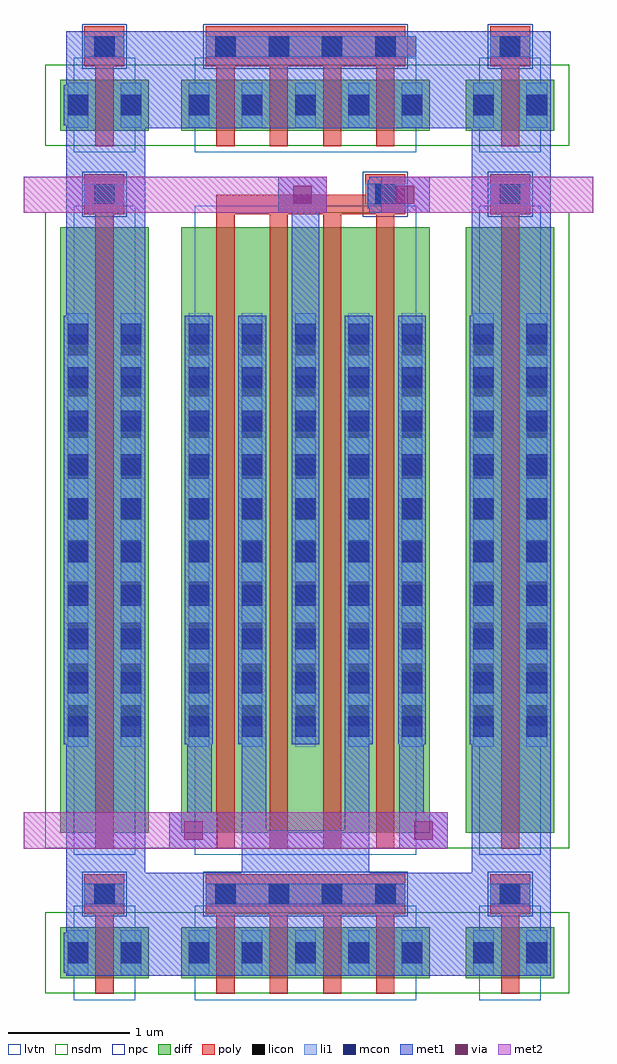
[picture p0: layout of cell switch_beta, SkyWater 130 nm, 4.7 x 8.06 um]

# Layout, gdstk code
import gdstk
lib = gdstk.Library(unit=1e-6, precision=1e-09)
def R(c, l, rs):  # rectangles x0, y0, x1, y1
    for r in rs: c.add(gdstk.rectangle(r[:2], r[2:], *l))
def A(c, l, x, y, w, h, nx, ny, dx, dy):  # array of equal rectangles
    R(c, l, [(x+i*dx, y+j*dy, x+i*dx+w, y+j*dy+h) for i in range(nx) for j in range(ny)])
diff = (65, 20)
poly = (66, 20)
licon = (66, 44)
li1 = (67, 20)
mcon = (67, 44)
met1 = (68, 20)
via = (68, 44)
met2 = (69, 20)
nsdm = (93, 44)
npc = (95, 20)
lvtn = (125, 44)

sky130_fd_pr__nfet_01v8_ = lib.new_cell('sky130_fd_pr__nfet_01v8_lvt_JQZUD4')
R(sky130_fd_pr__nfet_01v8_, diff, [(-0.365,-2.655,0.365,2.345)])
R(sky130_fd_pr__nfet_01v8_, poly, [(-0.075,-2.785,0.075,2.455), (-0.165,2.455,0.165,2.785)])
A(sky130_fd_pr__nfet_01v8_, licon, -0.305, -1.77, 0.17, 0.17, 1, 10, 0, 0.34)
A(sky130_fd_pr__nfet_01v8_, licon, 0.135, -1.77, 0.17, 0.17, 1, 10, 0, 0.34)
R(sky130_fd_pr__nfet_01v8_, licon, [(-0.085,2.535,0.085,2.705)])
R(sky130_fd_pr__nfet_01v8_, li1, [(-0.305,-1.945,-0.135,1.635), (0.135,-1.945,0.305,1.635), (-0.165,2.535,0.165,2.705)])
A(sky130_fd_pr__nfet_01v8_, mcon, -0.305, -1.86, 0.17, 0.17, 1, 10, 0, 0.36)
A(sky130_fd_pr__nfet_01v8_, mcon, 0.135, -1.86, 0.17, 0.17, 1, 10, 0, 0.36)
R(sky130_fd_pr__nfet_01v8_, mcon, [(-0.085,2.535,0.085,2.705)])
R(sky130_fd_pr__nfet_01v8_, met1, [(-0.335,-1.925,-0.105,1.615), (0.105,-1.925,0.335,1.615), (-0.145,2.505,0.145,2.735)])
R(sky130_fd_pr__nfet_01v8_, nsdm, [(-0.49,-2.78,0.49,2.47)])
R(sky130_fd_pr__nfet_01v8_, npc, [(-0.185,2.435,0.185,2.805)])
R(sky130_fd_pr__nfet_01v8_, lvtn, [(-0.255,-2.835,0.255,2.525)])

c_sky130_fd_pr__nfet_01v8_ = lib.new_cell('sky130_fd_pr__nfet_01v8_lvt_WTSFAK')
R(c_sky130_fd_pr__nfet_01v8_, diff, [(-0.365,-0.365,0.365,0.055)])
R(c_sky130_fd_pr__nfet_01v8_, poly, [(-0.075,-0.495,0.075,0.165), (-0.165,0.165,0.165,0.495)])
R(c_sky130_fd_pr__nfet_01v8_, licon, [(-0.305,-0.24,-0.135,-0.07), (0.135,-0.24,0.305,-0.07), (-0.085,0.245,0.085,0.415)])
R(c_sky130_fd_pr__nfet_01v8_, li1, [(-0.305,-0.34,-0.135,0.03), (0.135,-0.34,0.305,0.03), (-0.165,0.245,0.165,0.415)])
R(c_sky130_fd_pr__nfet_01v8_, mcon, [(-0.305,-0.24,-0.135,-0.07), (0.135,-0.24,0.305,-0.07), (-0.085,0.245,0.085,0.415)])
R(c_sky130_fd_pr__nfet_01v8_, met1, [(-0.335,-0.32,-0.105,0.01), (0.105,-0.32,0.335,0.01), (-0.145,0.215,0.145,0.445)])
R(c_sky130_fd_pr__nfet_01v8_, nsdm, [(-0.49,-0.49,0.49,0.18)])
R(c_sky130_fd_pr__nfet_01v8_, npc, [(-0.185,0.145,0.185,0.515)])
R(c_sky130_fd_pr__nfet_01v8_, lvtn, [(-0.255,-0.545,0.255,0.235)])

c_sky130_fd_pr__nfet_01v8__ = lib.new_cell('sky130_fd_pr__nfet_01v8_lvt_TTZUDE')
R(c_sky130_fd_pr__nfet_01v8__, diff, [(-0.365,-2.5,0.365,2.5)])
R(c_sky130_fd_pr__nfet_01v8__, poly, [(-0.075,-2.63,0.075,2.63)])
A(c_sky130_fd_pr__nfet_01v8__, licon, -0.305, -1.615, 0.17, 0.17, 1, 10, 0, 0.34)
A(c_sky130_fd_pr__nfet_01v8__, licon, 0.135, -1.615, 0.17, 0.17, 1, 10, 0, 0.34)
R(c_sky130_fd_pr__nfet_01v8__, li1, [(-0.305,-1.79,-0.135,1.79), (0.135,-1.79,0.305,1.79)])
A(c_sky130_fd_pr__nfet_01v8__, mcon, -0.305, -1.705, 0.17, 0.17, 1, 10, 0, 0.36)
A(c_sky130_fd_pr__nfet_01v8__, mcon, 0.135, -1.705, 0.17, 0.17, 1, 10, 0, 0.36)
R(c_sky130_fd_pr__nfet_01v8__, met1, [(-0.335,-1.77,-0.105,1.77), (0.105,-1.77,0.335,1.77)])
R(c_sky130_fd_pr__nfet_01v8__, nsdm, [(-0.49,-2.625,0.49,2.625)])
R(c_sky130_fd_pr__nfet_01v8__, lvtn, [(-0.255,-2.68,0.255,2.68)])

switch_beta = lib.new_cell('switch_beta')
R(switch_beta, poly, [(9.8,-0.34,10.915,-0.26), (9.5,-0.26,10.99,-0.09), (9.8,-0.09,10.915,-0.01), (9.59,5.44,11.04,5.45), (9.59,5.45,11.05,5.5), (9.59,5.5,10.85,5.6), (9.8,6.66,10.915,6.74), (9.75,6.74,11.24,6.91), (9.8,6.91,10.915,6.99)])
R(switch_beta, li1, [(9.5,-0.26,10.99,-0.09), (9.75,6.74,11.24,6.91)])
R(switch_beta, met1, [(8.35,-0.85,12.35,0), (8.35,0,9,6.15), (9.8,0,10.85,0.35), (11.7,0,12.35,6.15), (9.2,0.2,9.6,0.5), (11.1,0.2,11.5,0.5), (9.8,0.35,10,1.1), (10.65,0.35,10.85,1.1), (9.35,0.5,9.55,1.1), (11.1,0.5,11.3,1.1), (10.21,4.545,10.44,5.45), (10.1,5.45,10.5,5.75), (10.85,5.45,11.35,5.75), (8.35,6.15,12.35,6.95)])
R(switch_beta, via, [(9.325,0.275,9.475,0.425), (11.225,0.275,11.375,0.425), (10.225,5.525,10.375,5.675), (11.075,5.525,11.225,5.675)])
R(switch_beta, met2, [(8,0.2,11.5,0.5), (8,5.45,10.5,5.75), (10.95,5.45,12.7,5.75)])
R(switch_beta, nsdm, [(9.155,-0.995,9.175,-0.325), (11.475,-0.995,11.525,-0.325), (9.155,0.205,9.175,5.455), (11.475,0.205,11.525,5.455), (9.155,6.005,9.175,6.675), (11.475,6.005,11.525,6.675)])
A(switch_beta, npc, 9.85, -0.36, 0.07, 0.37, 3, 2, 0.44, 7)
switch_beta.add(gdstk.Reference(sky130_fd_pr__nfet_01v8_, (8.665,2.985)))
switch_beta.add(gdstk.Reference(c_sky130_fd_pr__nfet_01v8_, (8.665,-0.505)))
switch_beta.add(gdstk.Reference(c_sky130_fd_pr__nfet_01v8_, (8.665,6.495)))
switch_beta.add(gdstk.Reference(c_sky130_fd_pr__nfet_01v8__, (9.665,2.83)))
switch_beta.add(gdstk.Reference(c_sky130_fd_pr__nfet_01v8__, (10.105,2.83)))
switch_beta.add(gdstk.Reference(c_sky130_fd_pr__nfet_01v8_, (9.665,-0.505)))
switch_beta.add(gdstk.Reference(c_sky130_fd_pr__nfet_01v8_, (10.105,-0.505)))
switch_beta.add(gdstk.Reference(c_sky130_fd_pr__nfet_01v8_, (10.105,6.495)))
switch_beta.add(gdstk.Reference(c_sky130_fd_pr__nfet_01v8_, (9.665,6.495)))
switch_beta.add(gdstk.Reference(c_sky130_fd_pr__nfet_01v8__, (10.545,2.83)))
switch_beta.add(gdstk.Reference(c_sky130_fd_pr__nfet_01v8_, (10.545,-0.505)))
switch_beta.add(gdstk.Reference(c_sky130_fd_pr__nfet_01v8_, (10.545,6.495)))
switch_beta.add(gdstk.Reference(sky130_fd_pr__nfet_01v8_, (10.985,2.985)))
switch_beta.add(gdstk.Reference(c_sky130_fd_pr__nfet_01v8_, (10.985,-0.505)))
switch_beta.add(gdstk.Reference(c_sky130_fd_pr__nfet_01v8_, (10.985,6.495)))
switch_beta.add(gdstk.Reference(sky130_fd_pr__nfet_01v8_, (12.015,2.985)))
switch_beta.add(gdstk.Reference(c_sky130_fd_pr__nfet_01v8_, (12.015,-0.505)))
switch_beta.add(gdstk.Reference(c_sky130_fd_pr__nfet_01v8_, (12.015,6.495)))

lib.write_gds('switch_beta.gds')
